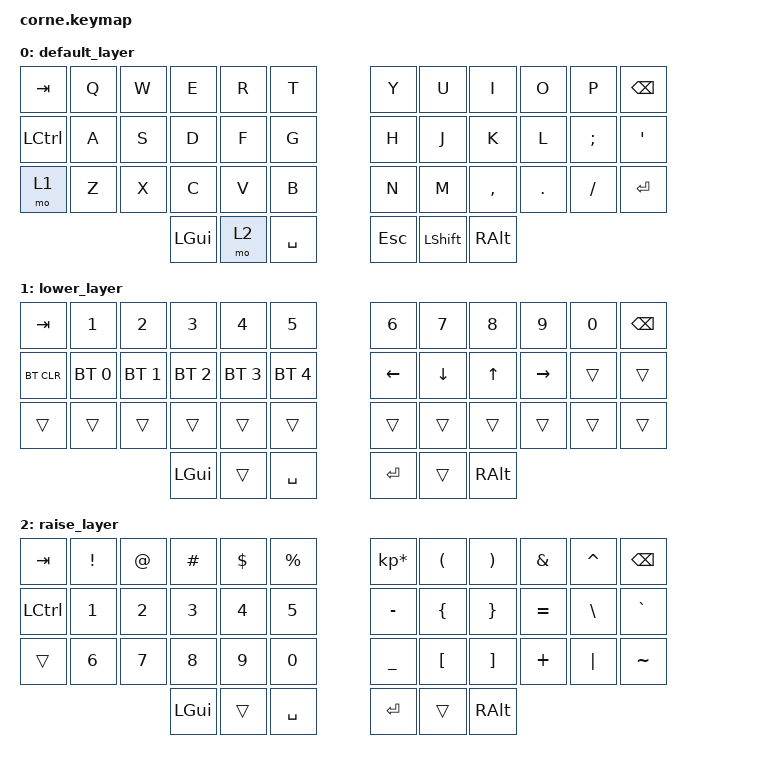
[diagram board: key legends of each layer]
/*
 * Copyright (c) 2020 The ZMK Contributors
 *
 * SPDX-License-Identifier: MIT
 */

#include <behaviors.dtsi>
#include <dt-bindings/zmk/keys.h>
#include <dt-bindings/zmk/bt.h>

/ {
    behaviors {
        td_mt: tap_dance_mod_tap {
            compatible = "zmk,behavior-tap-dance";
            #binding-cells = <0>;
            tapping-term-ms = <200>;
            bindings = <&mt LSHIFT CAPSLOCK>, <&kp LCTRL>;
        };
    };
    keymap {
            compatible = "zmk,keymap";

            default_layer {
// -----------------------------------------------------------------------------------------
// |  TAB |  Q  |  W  |  E  |  R  |  T  |   |  Y  |  U   |  I  |  O  |  P  | BKSP |
// | CTRL |  A  |  S  |  D  |  F  |  G  |   |  H  |  J   |  K  |  L  |  ;  |  '   |
// | LWR |  Z  |  X  |  C  |  V  |  B  |   |  N  |  M   |  ,  |  .  |  /  | ESC  |
//                    | GUI | RSE | SPC |   | ENT | SHFT  | ALT |
                        bindings = <
   &kp TAB   &kp Q &kp W &kp E &kp R &kp T   &kp Y &kp U  &kp I     &kp O   &kp P    &kp BSPC
   &kp LCTRL &kp A &kp S &kp D &kp F &kp G   &kp H &kp J  &kp K     &kp L   &kp SEMI &kp SQT
   &mo 1 &kp Z &kp X &kp C &kp V &kp B   &kp N &kp M  &kp COMMA &kp DOT &kp FSLH &kp RET
                  &kp LGUI &mo 2 &kp SPACE   &kp ESC &kp LSHIFT &kp RALT
                        >;
                };
                lower_layer {
// -----------------------------------------------------------------------------------------
// |  TAB |  1  |  2  |  3  |  4  |  5  |   |  6  |  7  |  8  |  9  |  0  | BKSP |
// | BTCLR| BT1 | BT2 | BT3 | BT4 | BT5 |   | LFT | DWN |  UP | RGT |     |      |
// | LWR |     |     |     |     |     |   |     |     |     |     |     |      |
//                    | GUI |     | SPC |   | ENT | SHFT | ALT |
                        bindings = <
   &kp TAB    &kp N1       &kp N2       &kp N3       &kp N4       &kp N5         &kp N6   &kp N7   &kp N8 &kp N9    &kp N0 &kp BSPC
   &bt BT_CLR &bt BT_SEL 0 &bt BT_SEL 1 &bt BT_SEL 2 &bt BT_SEL 3 &bt BT_SEL 4   &kp LEFT &kp DOWN &kp UP &kp RIGHT &trans &trans
   &trans  &trans       &trans       &trans       &trans       &trans         &trans   &trans   &trans &trans    &trans &trans
                                    &kp LGUI     &trans       &kp SPACE      &kp RET  &trans   &kp RALT
                        >;
                };

                raise_layer {
// -----------------------------------------------------------------------------------------
// |  TAB |  !  |  @  |  #  |  $  |  %  |   |  *  |  (  |  )  |  &  |  ^  | BKSP |
// | CTRL |     |     |     |     |     |   |  -  |  {  |  }  |  =  |  \  |  `   |
// | LWR |     |     |     |     |     |   |  _  |  [  |  ]  |  +  | "|" |  ~   |
//                    | GUI |     | SPC |   | ENT |     | ALT |
                        bindings = <
   &kp  TAB  &kp EXCL &kp AT &kp HASH &kp DLLR &kp PRCNT   &kp KP_MULTIPLY &kp LPAR &kp RPAR &kp  AMPS &kp CARET &kp BSPC
   &kp LCTRL &kp N1   &kp N2 &kp N3   &kp N4   &kp N5      &kp MINUS &kp LBRC &kp RBRC &kp EQUAL &kp BSLH &kp GRAVE
   &trans    &kp N6   &kp N7 &kp N8   &kp N9   &kp N0      &kp UNDER &kp LBKT &kp RBKT &kp PLUS &kp PIPE &kp TILDE
                             &kp LGUI &trans   &kp SPACE   &kp RET   &trans    &kp RALT
                        >;
                };
        };
};
